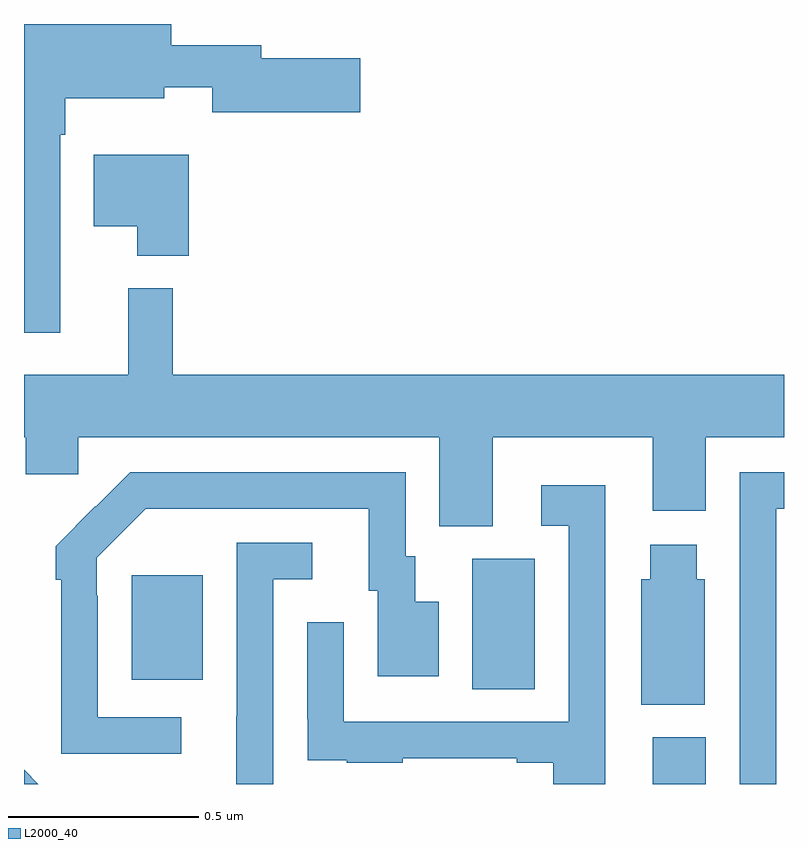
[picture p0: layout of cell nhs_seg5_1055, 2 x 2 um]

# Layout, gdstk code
import gdstk
lib = gdstk.Library(unit=1e-6, precision=1e-09)
def R(c, l, rs):  # rectangles x0, y0, x1, y1
    for r in rs: c.add(gdstk.rectangle(r[:2], r[2:], *l))
def P(c, l, *ps):  # polygons
    for p in ps: c.add(gdstk.Polygon(p, *l))
L2000_40 = (2000, 40)

nhs_seg5_1055 = lib.new_cell('nhs_seg5_1055')
R(nhs_seg5_1055, L2000_40, [(125.654,903.799,125.794,903.922), (125.18,904.048,125.344,904.392), (124.283,904.073,124.471,904.348)])
P(nhs_seg5_1055, L2000_40, [(124.095,905.507),(124.108,905.507),(124.108,905.603),(124.369,905.603),(124.369,905.633),(124.496,905.633),(124.496,905.567),(124.885,905.567),(124.885,905.709),(124.624,905.709),(124.624,905.743),(124.388,905.743),(124.388,905.799),(124,905.799),(124,904.986),(124.095,904.986)],
  [(124.433,905.455),(124.184,905.455),(124.184,905.267),(124.298,905.267),(124.298,905.189),(124.433,905.189)],
  [(125.233,904.712),(125.654,904.712),(125.654,904.518),(125.794,904.518),(125.794,904.712),(126,904.712),(126,904.876),(124.391,904.876),(124.391,905.104),(124.274,905.104),(124.274,904.876),(124,904.876),(124,904.712),(124.004,904.712),(124.004,904.614),(124.143,904.614),(124.143,904.712),(125.093,904.712),(125.093,904.477),(125.233,904.477)],
  [(125.979,904.524),(126,904.524),(126,904.62),(125.883,904.62),(125.883,903.799),(125.979,903.799)],
  [(124.414,903.975),(124.194,903.975),(124.194,904.295),(124.191,904.295),(124.191,904.395),(124.32,904.524),(124.907,904.524),(124.907,904.308),(124.931,904.308),(124.931,904.083),(125.092,904.083),(125.092,904.279),(125.029,904.279),(125.029,904.398),(125.004,904.398),(125.004,904.62),(124.28,904.62),(124.189,904.529),(124.188,904.53),(124.083,904.425),(124.083,904.337),(124.098,904.337),(124.098,903.879),(124.414,903.879)],
  [(125.529,904.585),(125.361,904.585),(125.361,904.479),(125.433,904.479),(125.433,903.963),(124.842,903.963),(124.842,904.225),(124.746,904.225),(124.746,903.97),(124.747,903.97),(124.747,903.861),(124.849,903.861),(124.849,903.855),(124.997,903.855),(124.997,903.867),(125.297,903.867),(125.297,903.855),(125.393,903.855),(125.393,903.799),(125.529,903.799)],
  [(124.656,904.338),(124.759,904.338),(124.759,904.434),(124.56,904.434),(124.56,903.977),(124.559,903.977),(124.559,903.799),(124.656,903.799)],
  [(125.791,904.338),(125.77,904.338),(125.77,904.429),(125.648,904.429),(125.648,904.338),(125.624,904.338),(125.624,904.007),(125.791,904.007)],
  [(124,903.836),(124,903.799),(124.037,903.799)])

lib.write_gds('nhs_seg5_1055.gds')
